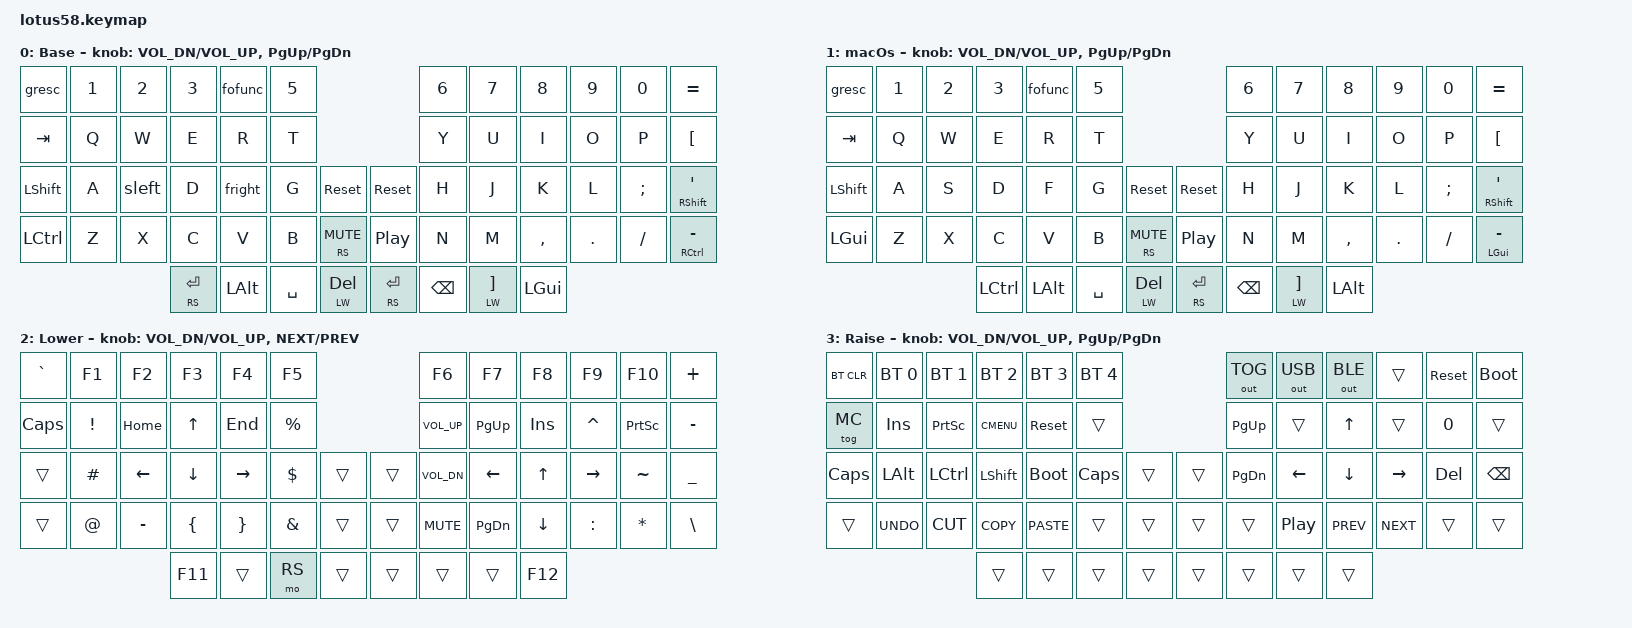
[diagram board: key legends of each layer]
/*
 * Copyright (c) 2022 The ZMK Contributors
 *
 * SPDX-License-Identifier: MIT
 */

#include <behaviors.dtsi>
#include <dt-bindings/zmk/keys.h>
#include <dt-bindings/zmk/bt.h>
#include <dt-bindings/zmk/outputs.h>

#define DF 0
#define MC 1
#define LW 2
#define RS 3

/ {
    combos {
        compatible = "zmk,combos";
        combo_dsklg {
            timeout-ms = <100>;
            key-positions = <24 52>;
            layers = <0>;
            bindings = <&kp LGUI>;
        };        
    };

    behaviors {
        fofunc: four_ffour {
            compatible = "zmk,behavior-mod-morph";
            label = "FOUR_FUNCFOUR";
            #binding-cells = <0>;
            bindings = <&kp N4>, <&kp F4>;
            mods = <(MOD_LALT|MOD_RALT)>;
            keep-mods = <(MOD_LALT|MOD_RALT)>;
        };
        gresc: grave_escape {
            compatible = "zmk,behavior-mod-morph";
            label = "GRAVE_ESCAPE";
            #binding-cells = <0>;
            bindings = <&kp ESC>, <&kp GRAVE>;
            mods = <(MOD_LCTL|MOD_RSFT)>;
            keep-mods = <(MOD_LCTL)>;
        };
        sleft: s_left {
            compatible = "zmk,behavior-mod-morph";
            label = "S_LEFT";
            #binding-cells = <0>;
            bindings = <&kp S>, <&kp LEFT>;
            mods = <(MOD_LGUI|MOD_RGUI)>;
        };
        fright: f_right {
            compatible = "zmk,behavior-mod-morph";
            label = "R_RIGHT";
            #binding-cells = <0>;
            bindings = <&kp F>, <&kp RIGHT>;
            mods = <(MOD_LGUI|MOD_RGUI)>;
        };
    };

    keymap {
        compatible = "zmk,keymap";

        default_layer {
            label = "Base";
//       0      1     2     3      4      5                            6      7       8       9      10      11    
//   ------------------------------------------------------------------------------------------------------------
//  0|  ESC  |  1  |  2  |  3   |  4   |  5   |                     |  6   |  7    |  8    |  9   |   0   |   =   | 11
// 12|  TAB  |  Q  |  W  |  E   |  R   |  T   |                     |  Y   |  U    |  I    |  O   |   P   |   [   | 23
// 24|  SFT  |  A  |  S  |  D   |  F   |  G   |  RESET  |  | RESET  |  H   |  J    |  K    |  L   |   ;   | ' SFT | 37
// 38|  CTRL |  Z  |  X  |  C   |  V   |  B   | MUTE RS |  | PLAY   |  N   |  M    |  ,    |  .   |   /   | - CTRL| 51
// 52                    |ENT RS|  ALT | SPACE|DELETE LW|  |ENTER RS| BSPC |  ] LW | RGUI  |                        59
            bindings = <
&gresc    &kp N1 &kp N2   &kp N3      &fofunc   &kp N5                               &kp N6    &kp N7      &kp N8    &kp N9   &kp N0   &kp EQUAL
&kp TAB   &kp Q  &kp W    &kp E       &kp R     &kp T                                &kp Y     &kp U       &kp I     &kp O    &kp P    &kp LBKT
&kp LSHFT &kp A  &sleft   &kp D       &fright   &kp G      &sys_reset     &sys_reset &kp H     &kp J       &kp K     &kp L    &kp SEMI &mt RSHFT SQT
&kp LCTRL &kp Z  &kp X    &kp C       &kp V     &kp B      &lt RS C_MUTE  &kp C_PP   &kp N     &kp M       &kp COMMA &kp DOT  &kp FSLH &mt RCTRL MINUS
                          &lt RS RET  &kp LALT  &kp SPACE  &lt LW DEL     &lt RS RET &kp BSPC  &lt LW RBKT &kp LGUI  
            >;

            sensor-bindings = <&inc_dec_kp C_VOL_DN C_VOL_UP &inc_dec_kp PG_UP PG_DN>;
        };

        macos_layer {
            label = "macOs";
//       0      1     2     3      4      5                            6      7       8       9      10      11    
//   ------------------------------------------------------------------------------------------------------------
//  0|  ESC  |  1  |  2  |  3   |  4   |  5   |                     |  6   |  7    |  8    |  9   |   0   |   =   | 11
// 12|  TAB  |  Q  |  W  |  E   |  R   |  T   |                     |  Y   |  U    |  I    |  O   |   P   |   [   | 23
// 24|  SFT  |  A  |  S  |  D   |  F   |  G   |  RESET  |  | RESET  |  H   |  J    |  K    |  L   |   ;   | ' SFT | 37
// 38|  CMND |  Z  |  X  |  C   |  V   |  B   | MUTE RS |  | PLAY   |  N   |  M    |  ,    |  .   |   /   | - CMND| 51
// 52                    | OPTN | CTRL | SPACE|DELETE LW|  |ENTER RS| BSPC |  ] LW | OPTN  |                        59
            bindings = <
&gresc   &kp N1 &kp N2   &kp N3     &fofunc   &kp N5                               &kp N6    &kp N7      &kp N8    &kp N9   &kp N0   &kp EQUAL
&kp TAB   &kp Q  &kp W    &kp E      &kp R     &kp T                                &kp Y     &kp U       &kp I     &kp O    &kp P    &kp LBKT
&kp LSHFT &kp A  &kp S    &kp D      &kp F     &kp G      &sys_reset     &sys_reset &kp H     &kp J       &kp K     &kp L    &kp SEMI &mt RSHFT SQT
&kp LGUI  &kp Z  &kp X    &kp C      &kp V     &kp B      &lt RS C_MUTE  &kp C_PP   &kp N     &kp M       &kp COMMA &kp DOT  &kp FSLH &mt LGUI MINUS
                          &kp LCTRL  &kp LALT  &kp SPACE  &lt LW DEL     &lt RS RET &kp BSPC  &lt LW RBKT &kp LALT  
            >;

            sensor-bindings = <&inc_dec_kp C_VOL_DN C_VOL_UP &inc_dec_kp PG_UP PG_DN>;
        };

        lower_layer {
            label = "Lower";
// ------------------------------------------------------------------------------------------------------------
// | `     |  F1 |  F2 |  F3  |  F4  |  F5  |                   |  F6  |  F7   |  F8   |  F9  |  F10  |  F11  |
// |       |  !  | HOME|   ^  |  END |  %   |                   | VOL^ |  PGUP |  INS  |  ^   |  PSCR |   -   |
// |       |  #  |  <- |   v  | ->   |  $   |        |  |       | VOLv |    <- |   ^   |  ->  |   ~   |   _   |
// |       |  @  |  -  |  (   |  )   |  &   |        |  |       | MUTE |  PGDN |   v   |  :   |   *   |   \|   |
//                     |  F11 |      |  RS  |        |  |       |      |       |  F12  |       
            bindings = <
&kp GRAVE  &kp F1    &kp F2    &kp F3      &kp F4     &kp F5                     &kp F6        &kp F7     &kp F8    &kp F9     &kp F10   &kp PLUS
&kp CAPS   &kp EXCL  &kp HOME  &kp UP      &kp END    &kp PRCNT                  &kp C_VOL_UP  &kp PG_UP  &kp INS   &kp CARET  &kp PSCRN &kp MINUS
&trans     &kp HASH  &kp LEFT  &kp DOWN    &kp RIGHT  &kp DLLR  &trans   &trans  &kp C_VOL_DN  &kp LEFT   &kp UP    &kp RIGHT  &kp TILDE &kp UNDER
&trans     &kp AT    &kp MINUS &kp LBRC    &kp RBRC   &kp AMPS  &trans   &trans  &kp C_MUTE    &kp PG_DN  &kp DOWN  &kp COLON  &kp STAR  &kp BSLH
                               &kp F11     &trans     &mo RS    &trans   &trans  &trans        &trans     &kp F12
            >;

            sensor-bindings = <&inc_dec_kp C_VOL_DN C_VOL_UP &inc_dec_kp C_NEXT C_PREV>;
        };

        raise_layer {
            label = "Raise";
// ------------------------------------------------------------------------------------------------------------
// |BTCLR| BT1  | BT2  |  BT3  |  BT4  |  BT5 |                |OUTTOG|OUTUSB| OUTBT |      |       |       |
// |macOS| INS  | PSCR | GUI   | RESET |      |                | PGUP |      |   ^   |      |       |       |
// |CPSLK| ALT  | CTRL | SHIFT | FLASH | CAPS |      |  |      | PGDN |   <- |   v   |  ->  |  DEL  | BSPC  |
// |     | UNDO | CUT  | COPY  | PASTE |      |      |  |      |      |  |>  |  <|<| | |>|> |       |       |
//                     |       |       |      |      |  |      |      |      |       |       
            bindings = <
&bt BT_CLR &bt BT_SEL 0 &bt BT_SEL 1 &bt BT_SEL 2 &bt BT_SEL 3 &bt BT_SEL 4                    &out OUT_TOG  &out OUT_USB  &out OUT_BLE  &trans     &sys_reset &bootloader
&tog MC    &kp INS      &kp PSCRN    &kp K_CMENU  &sys_reset   &trans                          &kp PG_UP     &trans        &kp UP        &trans     &kp N0  &trans
&kp CAPS   &kp LALT     &kp LCTRL    &kp LSHFT    &bootloader  &kp CLCK     &trans   &trans    &kp PG_DN     &kp LEFT      &kp DOWN      &kp RIGHT  &kp DEL &kp BSPC
&trans     &kp K_UNDO   &kp K_CUT    &kp K_COPY   &kp K_PASTE  &trans       &trans   &trans    &trans        &kp C_PP      &kp C_PREV    &kp C_NEXT &trans  &trans
                                     &trans       &trans       &trans       &trans   &trans    &trans        &trans        &trans   
            >;

            sensor-bindings = <&inc_dec_kp C_VOL_DN C_VOL_UP &inc_dec_kp PG_UP PG_DN>;
        };
    };
};
